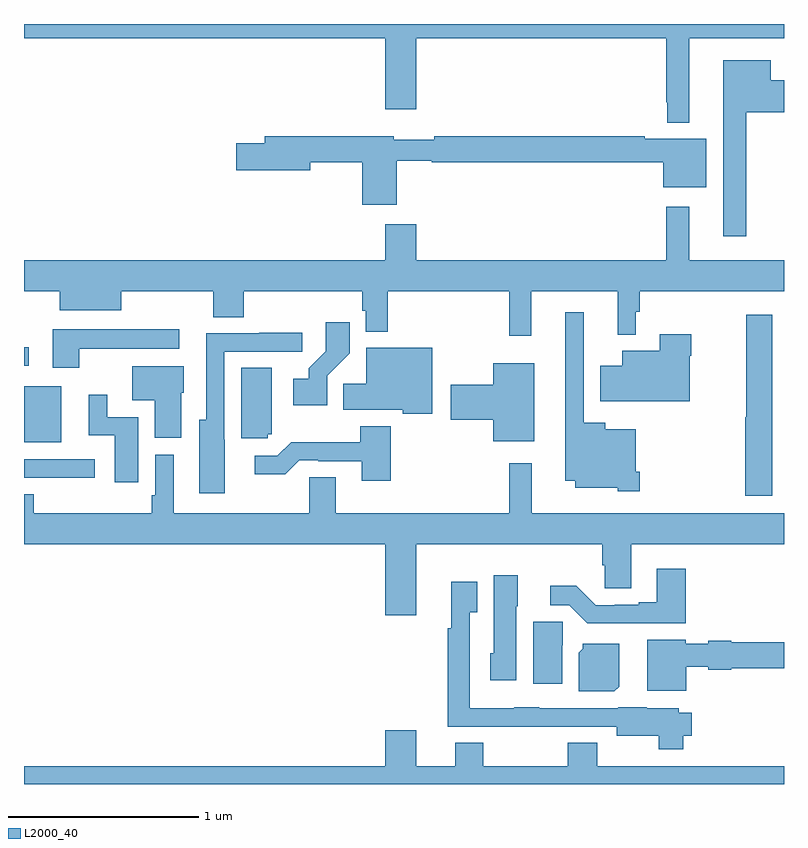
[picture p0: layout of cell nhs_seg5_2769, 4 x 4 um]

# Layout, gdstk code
import gdstk
lib = gdstk.Library(unit=1e-6, precision=1e-09)
def R(c, l, rs):  # rectangles x0, y0, x1, y1
    for r in rs: c.add(gdstk.rectangle(r[:2], r[2:], *l))
def P(c, l, *ps):  # polygons
    for p in ps: c.add(gdstk.Polygon(p, *l))
L2000_40 = (2000, 40)

nhs_seg5_2769 = lib.new_cell('nhs_seg5_2769')
R(nhs_seg5_2769, L2000_40, [(271,890.597,271.195,890.893), (271,891,271.024,891.097)])
P(nhs_seg5_2769, L2000_40, [(274.501,892.724),(275,892.724),(275,892.799),(271,892.799),(271,892.724),(272.9,892.724),(272.9,892.35),(273.064,892.35),(273.064,892.724),(274.38,892.724),(274.38,892.387),(274.386,892.387),(274.386,892.28),(274.501,892.28)],
  [(274.801,892.334),(275,892.334),(275,892.504),(274.93,892.504),(274.93,892.609),(274.679,892.609),(274.679,891.681),(274.801,891.681)],
  [(272.963,892.08),(273.146,892.08),(273.146,892.072),(274.364,892.072),(274.364,891.941),(274.591,891.941),(274.591,892.195),(274.268,892.195),(274.268,892.208),(273.16,892.208),(273.16,892.189),(272.946,892.189),(272.946,892.208),(272.267,892.208),(272.267,892.172),(272.118,892.172),(272.118,892.03),(272.506,892.03),(272.506,892.072),(272.78,892.072),(272.78,891.849),(272.963,891.849)],
  [(273.671,891.392),(274.124,891.392),(274.124,891.164),(274.221,891.164),(274.221,891.285),(274.241,891.285),(274.241,891.392),(275,891.392),(275,891.556),(274.501,891.556),(274.501,891.838),(274.38,891.838),(274.38,891.556),(273.064,891.556),(273.064,891.745),(272.9,891.745),(272.9,891.556),(271,891.556),(271,891.392),(271.187,891.392),(271.187,891.293),(271.513,891.293),(271.513,891.392),(271.996,891.392),(271.996,891.256),(272.156,891.256),(272.156,891.392),(272.779,891.392),(272.779,891.291),(272.799,891.291),(272.799,891.179),(272.915,891.179),(272.915,891.392),(273.553,891.392),(273.553,891.159),(273.671,891.159)],
  [(274.241,890.443),(274.219,890.443),(274.219,890.665),(274.06,890.665),(274.06,890.701),(273.945,890.701),(273.945,891.283),(273.848,891.283),(273.848,890.396),(273.902,890.396),(273.902,890.357),(274.125,890.357),(274.125,890.339),(274.241,890.339)],
  [(274.939,891.268),(274.801,891.268),(274.801,890.728),(274.796,890.728),(274.796,890.316),(274.939,890.316)],
  [(272.595,890.947),(272.714,891.066),(272.714,891.229),(272.589,891.229),(272.589,891.077),(272.498,890.987),(272.498,890.932),(272.418,890.932),(272.418,890.792),(272.595,890.792)],
  [(271.291,891.089),(271.816,891.089),(271.816,891.193),(271.151,891.193),(271.151,890.991),(271.291,890.991)],
  [(272.056,890.612),(272.055,890.612),(272.055,891.075),(272.464,891.075),(272.464,891.174),(272.239,891.174),(272.239,891.171),(271.959,891.171),(271.959,890.716),(271.922,890.716),(271.922,890.328),(272.056,890.328)],
  [(274.504,891.053),(274.512,891.053),(274.512,891.166),(274.346,891.166),(274.346,891.079),(274.148,891.079),(274.148,891.001),(274.034,891.001),(274.034,890.813),(274.504,890.813)],
  [(273.148,891.094),(272.801,891.094),(272.801,890.906),(272.68,890.906),(272.68,890.768),(272.994,890.768),(272.994,890.747),(273.148,890.747)],
  [(273.685,891.013),(273.47,891.013),(273.47,890.9),(273.246,890.9),(273.246,890.717),(273.47,890.717),(273.47,890.603),(273.685,890.603)],
  [(271.828,890.859),(271.84,890.859),(271.84,890.998),(271.571,890.998),(271.571,890.819),(271.688,890.819),(271.688,890.622),(271.828,890.622)],
  [(272.283,890.64),(272.305,890.64),(272.305,890.989),(272.144,890.989),(272.144,890.619),(272.283,890.619)],
  [(271.6,890.73),(271.438,890.73),(271.438,890.848),(271.34,890.848),(271.34,890.634),(271.478,890.634),(271.478,890.388),(271.6,890.388)],
  [(272.93,890.683),(272.77,890.683),(272.77,890.599),(272.407,890.599),(272.334,890.526),(272.214,890.526),(272.214,890.429),(272.375,890.429),(272.448,890.502),(272.548,890.502),(272.548,890.499),(272.777,890.499),(272.777,890.394),(272.93,890.394)],
  [(273.064,890.06),(274.043,890.06),(274.043,889.95),(274.056,889.95),(274.056,889.828),(274.195,889.828),(274.195,890.06),(275,890.06),(275,890.224),(273.672,890.224),(273.672,890.488),(273.553,890.488),(273.553,890.224),(272.641,890.224),(272.641,890.414),(272.502,890.414),(272.502,890.224),(271.789,890.224),(271.789,890.533),(271.692,890.533),(271.692,890.32),(271.672,890.32),(271.672,890.224),(271.052,890.224),(271.052,890.323),(271,890.323),(271,890.06),(272.9,890.06),(272.9,889.686),(273.064,889.686)],
  [(271.372,890.508),(271,890.508),(271,890.412),(271.135,890.412),(271.135,890.411),(271.372,890.411)],
  [(274.484,889.933),(274.331,889.933),(274.331,889.756),(274.235,889.756),(274.235,889.743),(274.108,889.743),(274.108,889.74),(274.008,889.74),(273.906,889.843),(273.771,889.843),(273.771,889.74),(273.87,889.74),(273.964,889.646),(274.484,889.646)],
  [(273.592,889.734),(273.598,889.734),(273.598,889.897),(273.473,889.897),(273.473,889.488),(273.455,889.488),(273.455,889.344),(273.592,889.344)],
  [(274.469,889.052),(274.514,889.052),(274.514,889.174),(274.446,889.174),(274.446,889.198),(274.278,889.198),(274.278,889.204),(274.128,889.204),(274.128,889.197),(273.711,889.197),(273.711,889.204),(273.579,889.204),(273.579,889.198),(273.345,889.198),(273.345,889.703),(273.385,889.703),(273.385,889.864),(273.248,889.864),(273.248,889.619),(273.229,889.619),(273.229,889.101),(273.479,889.101),(273.479,889.1),(273.711,889.1),(273.711,889.101),(274.121,889.101),(274.121,889.052),(274.341,889.052),(274.341,888.983),(274.469,888.983)],
  [(273.832,889.53),(273.836,889.53),(273.836,889.653),(273.68,889.653),(273.68,889.326),(273.832,889.326)],
  [(274.486,889.415),(274.602,889.415),(274.602,889.4),(274.722,889.4),(274.722,889.408),(275,889.408),(275,889.544),(274.722,889.544),(274.722,889.552),(274.602,889.552),(274.602,889.537),(274.482,889.537),(274.482,889.558),(274.28,889.558),(274.28,889.289),(274.486,889.289)],
  [(274.132,889.312),(274.132,889.537),(273.942,889.537),(273.942,889.512),(273.92,889.49),(273.92,889.286),(274.106,889.286)],
  [(275,888.892),(274.017,888.892),(274.017,889.016),(273.862,889.016),(273.862,888.892),(273.417,888.892),(273.417,889.016),(273.269,889.016),(273.269,888.892),(273.064,888.892),(273.064,889.081),(272.9,889.081),(272.9,888.892),(271,888.892),(271,888.799),(275,888.799)])

lib.write_gds('nhs_seg5_2769.gds')
